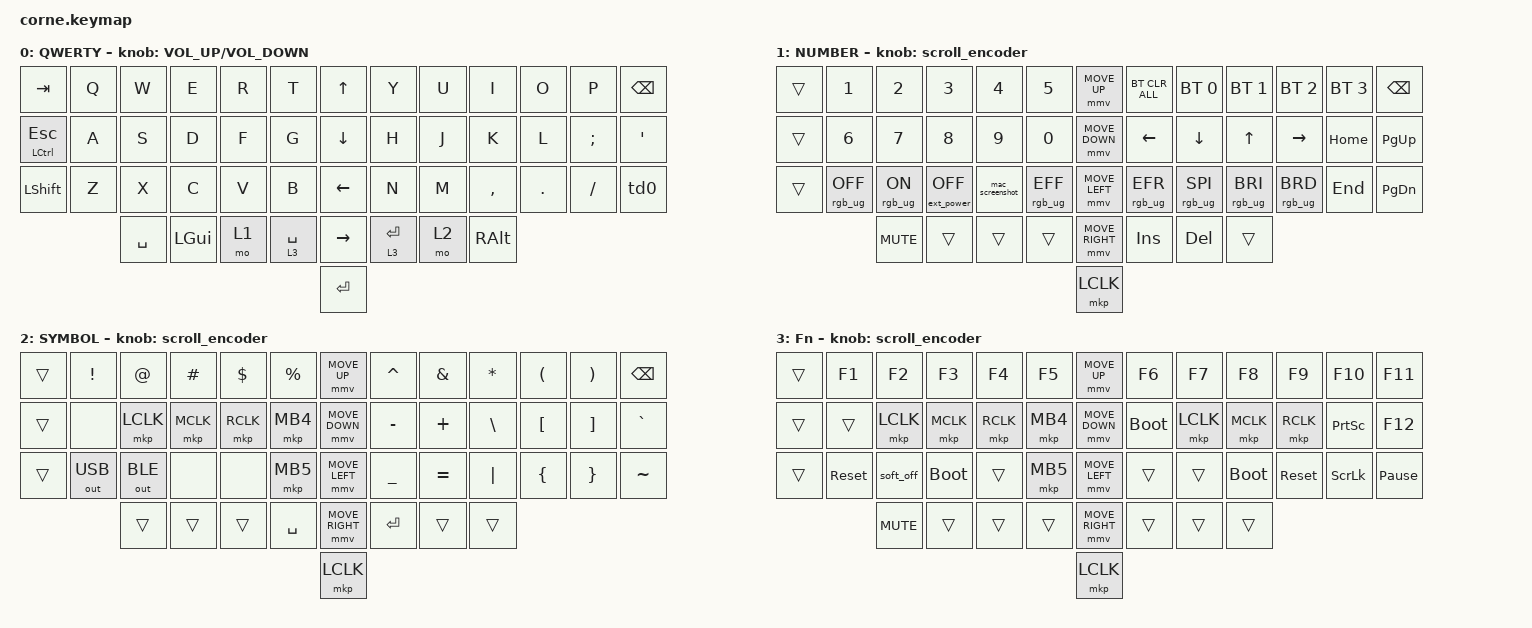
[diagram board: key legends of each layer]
#include <behaviors/mouse_keys.dtsi>
#include <dt-bindings/zmk/mouse.h>
#include <behaviors.dtsi>
#include <dt-bindings/zmk/bt.h>
#include <dt-bindings/zmk/ext_power.h>
#include <dt-bindings/zmk/keys.h>
#include <dt-bindings/zmk/outputs.h>
#include <dt-bindings/zmk/rgb.h>

#define ZMK_MOUSE_DEFAULT_MOVE_VAL 1200  // 600
#define ZMK_MOUSE_DEFAULT_SCRL_VAL 20    // 10
#define U_MS_U &mmv MOVE_UP
#define U_MS_D &mmv MOVE_DOWN
#define U_MS_L &mmv MOVE_LEFT
#define U_MS_R &mmv MOVE_RIGHT

/ {
    behaviors {
        td0: td0 {
            compatible = "zmk,behavior-tap-dance";
            label = "TD0";
            #binding-cells = <0>;
            bindings = <&kp LEFT_SHIFT>, <&kp CAPS>;
        };

        mmv {
            acceleration-exponent = <1>;      // 1
            time-to-max-speed-ms = <900>;    // 40
            delay-ms = <0>;                   // 0
        };

        msc {
            acceleration-exponent = <1>;      // 0
            time-to-max-speed-ms = <400>;      // 500
            delay-ms = <0>;                   // 10
        };
    };

    rgb_encoder: rgb_encoder {
        compatible = "zmk,behavior-sensor-rotate";
        label = "RGB_ENCODER";
        #sensor-binding-cells = <0>;
        bindings = <&rgb_ug RGB_BRI>, <&rgb_ug RGB_BRD>;
    };

    scroll_encoder: scroll_encoder {
        compatible = "zmk,behavior-sensor-rotate";
        #sensor-binding-cells = <0>;
        bindings = <&msc SCRL_DOWN>, <&msc SCRL_UP>;

        tap-ms = <30>;
    };

    macros {
        mac_screenshot: new_macro {
            compatible = "zmk,behavior-macro";
            #binding-cells = <0>;
            bindings =
                <&macro_press>,
                <&kp LSHIFT &kp LEFT_GUI>,
                <&macro_tap>,
                <&kp N5>,
                <&macro_release>,
                <&kp LEFT_SHIFT &kp LEFT_GUI>;

            label = "MAC_SCREENSHOT";
        };
    };

    keymap {
        compatible = "zmk,keymap";

        default_layer {
            display-name = "QWERTY";

            // --------------------------------------------------------------------------------
            // |  TAB |  Q  |  W  |  E  |  R  |  T  |                ↑    |  Y  |  U   |  I  |  O  |  P  | BKSP |      &kp UP_ARROW 
            // | SHIFT |  A  |  S  |  D  |  F  |  G  |               ↓    |  H  |  J   |  K  |  L  |  ;  |  '   | 
            // | CTRL |  Z  |  X  |  C  |  V  |  B  |                ←    |  N  |  M   |  ,  |  .  |  /  | ESC  |
            //                    | GUI | LWR | SPC |                →    | ENT | RSE  | ALT |
            //                                                      enter

            bindings = <
&kp TAB           &kp Q  &kp W      &kp E     &kp R  &kp T          &kp UP_ARROW     &kp Y        &kp U  &kp I      &kp O    &kp P     &kp BSPC
&mt LCTRL ESCAPE  &kp A  &kp S      &kp D     &kp F  &kp G          &kp DOWN_ARROW   &kp H        &kp J  &kp K      &kp L    &kp SEMI  &kp SQT
&kp LSHFT         &kp Z  &kp X      &kp C     &kp V  &kp B          &kp LEFT_ARROW   &kp N        &kp M  &kp COMMA  &kp DOT  &kp FSLH  &td0
                         &kp SPACE  &kp LGUI  &mo 1  &lt 3 SPACE    &kp RIGHT_ARROW  &lt 3 ENTER  &mo 2  &kp RALT
                                                                    &kp ENTER
            >;

            label = "QWERTY";
            sensor-bindings = <&inc_dec_kp C_VOLUME_UP C_VOLUME_DOWN>;
        };

        lower_layer {
            display-name = "NUMBER";

            // -----------------------------------------------------------------------------------------
            // |  TAB |  1  |  2  |  3  |  4  |  5  |   |  6  |  7  |  8  |  9  |  0  | BKSP |
            // | BTCLR| BT1 | BT2 | BT3 | BT4 | BT5 |   | LFT | DWN |  UP | RGT |     |      |
            // | SHFT |     |     |     |     |     |   |     |     |     |     |     |      |
            //                    | GUI |     | SPC |   | ENT |     | ALT |

            bindings = <
&trans  &kp N1           &kp N2          &kp N3             &kp N4           &kp N5             &mmv MOVE_UP     &bt BT_CLR_ALL   &bt BT_SEL 0     &bt BT_SEL 1     &bt BT_SEL 2     &bt BT_SEL 3  &kp BSPC
&trans  &kp N6           &kp N7          &kp N8             &kp N9           &kp N0             &mmv MOVE_DOWN   &kp LEFT         &kp DOWN         &kp UP           &kp RIGHT        &kp HOME      &kp PG_UP
&trans  &rgb_ug RGB_OFF  &rgb_ug RGB_ON  &ext_power EP_OFF  &mac_screenshot  &rgb_ug RGB_EFF    &mmv MOVE_LEFT   &rgb_ug RGB_EFR  &rgb_ug RGB_SPI  &rgb_ug RGB_BRI  &rgb_ug RGB_BRD  &kp END       &kp PG_DN
                         &kp C_MUTE      &trans             &trans           &trans             &mmv MOVE_RIGHT  &kp INS          &kp DEL          &trans
                                                                                                &mkp LCLK
            >;

            label = "NUMBER";
            sensor-bindings = <&scroll_encoder>;
        };

        raise_layer {
            display-name = "SYMBOL";

            // -----------------------------------------------------------------------------------------
            // |  TAB |  !  |  @  |  #  |  $  |  %  |   |  ^  |  &  |  *  |  (  |  )  | BKSP |
            // | CTRL |     |     |     |     |     |   |  -  |  =  |  [  |  ]  |  \  |  `   |
            // | SHFT |     |     |     |     |     |   |  _  |  +  |  {  |  }  | "|" |  ~   |
            //                    | GUI |     | SPC |   | ENT |     | ALT |

            bindings = <
&trans  &kp EXCL      &kp AT        &kp HASH   &kp DLLR   &kp PRCNT    &mmv MOVE_UP     &kp CARET  &kp AMPS   &kp ASTRK  &kp LPAR          &kp RPAR           &kp BSPC
&trans  &none         &mkp LCLK     &mkp MCLK  &mkp RCLK  &mkp MB4     &mmv MOVE_DOWN   &kp MINUS  &kp PLUS   &kp BSLH   &kp LEFT_BRACKET  &kp RIGHT_BRACKET  &kp GRAVE
&trans  &out OUT_USB  &out OUT_BLE  &none      &none      &mkp MB5     &mmv MOVE_LEFT   &kp UNDER  &kp EQUAL  &kp PIPE   &kp LEFT_BRACE    &kp RIGHT_BRACE    &kp TILDE
                      &trans        &trans     &trans     &kp SPACE    &mmv MOVE_RIGHT  &kp RET    &trans     &trans
                                                                       &mkp LCLK
            >;

            label = "SYMBOL";
            sensor-bindings = <&scroll_encoder>;
        };

        layer_3 {
            display-name = "Fn";
            bindings = <
&trans  &kp F1      &kp F2      &kp F3       &kp F4     &kp F5      &mmv MOVE_UP     &kp F6       &kp F7     &kp F8       &kp F9      &kp F10          &kp F11
&trans  &trans      &mkp LCLK   &mkp MCLK    &mkp RCLK  &mkp MB4    &mmv MOVE_DOWN   &bootloader  &mkp LCLK  &mkp MCLK    &mkp RCLK   &kp PRINTSCREEN  &kp F12
&trans  &sys_reset  &soft_off   &bootloader  &trans     &mkp MB5    &mmv MOVE_LEFT   &trans       &trans     &bootloader  &sys_reset  &kp SCROLLLOCK   &kp PAUSE_BREAK
                    &kp C_MUTE  &trans       &trans     &trans      &mmv MOVE_RIGHT  &trans       &trans     &trans
                                                                    &mkp LCLK
            >;

            label = "FN";
            sensor-bindings = <&scroll_encoder>;
        };
    };
};
